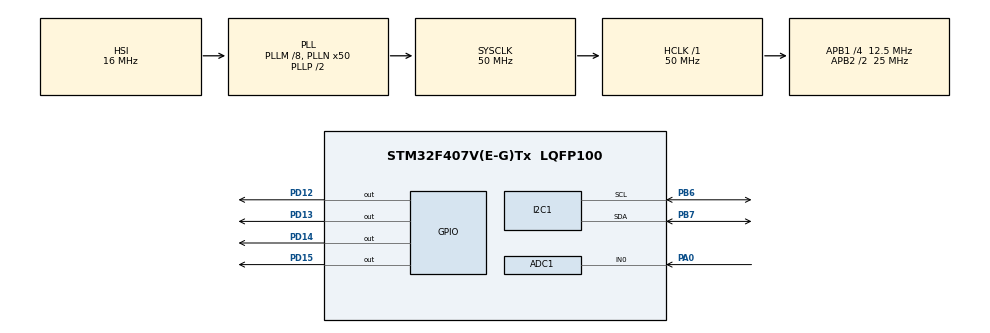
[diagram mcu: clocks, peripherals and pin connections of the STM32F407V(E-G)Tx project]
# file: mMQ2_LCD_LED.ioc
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ADC1.Channel-0\#ChannelRegularConversion=ADC_CHANNEL_0
ADC1.NbrOfConversionFlag=1
ADC1.Rank-0\#ChannelRegularConversion=1
ADC1.SamplingTime-0\#ChannelRegularConversion=ADC_SAMPLETIME_3CYCLES
ADC1.master=1
Mcu.Family=STM32F4
Mcu.Name=STM32F407V(E-G)Tx
Mcu.Package=LQFP100
NVIC.PriorityGroup=NVIC_PRIORITYGROUP_0
PA0-WKUP.Signal=ADCx_IN0
PB6.Mode=I2C
PB6.Signal=I2C1_SCL
PB7.Mode=I2C
PB7.Signal=I2C1_SDA
PD12.Signal=GPIO_Output
PD13.Signal=GPIO_Output
PD14.Signal=GPIO_Output
PD15.Signal=GPIO_Output
ProjectManager.HeapSize=0x200
ProjectManager.StackSize=0x400
ProjectManager.TargetToolchain=STM32CubeIDE
RCC.48MHZClocksFreq_Value=14285714.285714285
RCC.AHBFreq_Value=50000000
RCC.APB1CLKDivider=RCC_HCLK_DIV4
RCC.APB1Freq_Value=12500000
RCC.APB1TimFreq_Value=25000000
RCC.APB2CLKDivider=RCC_HCLK_DIV2
RCC.APB2Freq_Value=25000000
RCC.APB2TimFreq_Value=50000000
RCC.CortexFreq_Value=50000000
RCC.HCLKFreq_Value=50000000
RCC.HSE_VALUE=8000000
RCC.HSI_VALUE=16000000
RCC.PLLM=8
RCC.PLLN=50
RCC.PLLQ=7
RCC.SYSCLKFreq_VALUE=50000000
RCC.SYSCLKSource=RCC_SYSCLKSOURCE_PLLCLK
RCC.VCOOutputFreq_Value=100000000
SH.ADCx_IN0.0=ADC1_IN0,IN0
board=STM32F407G-DISC1

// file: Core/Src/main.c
/* USER CODE BEGIN Header */
/**
  ******************************************************************************
  * @file           : main.c
  * @brief          : Main program body
  ******************************************************************************
  * @attention
  *
  * Copyright (c) 2025 STMicroelectronics.
  * All rights reserved.
  *
  * This software is licensed under terms that can be found in the LICENSE file
  * in the root directory of this software component.
  * If no LICENSE file comes with this software, it is provided AS-IS.
  *
  ******************************************************************************
  */
/* USER CODE END Header */
#include "main.h"

ADC_HandleTypeDef hadc1;

I2C_HandleTypeDef hi2c1;

void SystemClock_Config(void);
static void MX_GPIO_Init(void);
static void MX_I2C1_Init(void);
static void MX_ADC1_Init(void);

int main(void)
{

  /* USER CODE BEGIN 1 */
	uint16_t val = 0;
  /* USER CODE END 1 */

  /* MCU Configuration--------------------------------------------------------*/

  /* Reset of all peripherals, Initializes the Flash interface and the Systick. */
  HAL_Init();

  /* Configure the system clock */
  SystemClock_Config();

  /* Initialize all configured peripherals */
  MX_GPIO_Init();
  MX_I2C1_Init();
  MX_ADC1_Init();
  /* USER CODE BEGIN 2 */
  if (!lcd16x2_i2c_init(&hi2c1))
   {
       // LCD not detected
       while(1);
    }
  char str[32];
  /* USER CODE END 2 */

  /* Infinite loop */
  while (1)
  {

    /* USER CODE BEGIN 3 */

	 val = read_adc();
	 lcd16x2_i2c_clear();
	 lcd16x2_i2c_setCursor(0,0);
	 sprintf(str,"Smoke = %4d",val);
	 lcd16x2_i2c_printf(str);
	 HAL_Delay(1000);
	 HAL_GPIO_WritePin(GPIOD,GPIO_PIN_12|GPIO_PIN_13|GPIO_PIN_14|GPIO_PIN_15,GPIO_PIN_RESET);
	 if(val >= 200 && val <= 600)
	 {
		 HAL_GPIO_WritePin(GPIOD,GPIO_PIN_12,GPIO_PIN_SET);
	 }
	 else if(val > 600 && val <= 1500)
	 {
		 HAL_GPIO_WritePin(GPIOD,GPIO_PIN_13,GPIO_PIN_SET);
	 }
	 else if(val >1500)
	 {
		 HAL_GPIO_WritePin(GPIOD,GPIO_PIN_14,GPIO_PIN_SET);
	 }
	 else
		 HAL_GPIO_WritePin(GPIOD,GPIO_PIN_15,GPIO_PIN_SET);
	 HAL_Delay(1000);
  }
  /* USER CODE END 3 */
}

void SystemClock_Config(void)
{
  RCC_OscInitTypeDef RCC_OscInitStruct = {0};
  RCC_ClkInitTypeDef RCC_ClkInitStruct = {0};

  /** Configure the main internal regulator output voltage
  */
  __HAL_RCC_PWR_CLK_ENABLE();
  __HAL_PWR_VOLTAGESCALING_CONFIG(PWR_REGULATOR_VOLTAGE_SCALE1);

  /** Initializes the RCC Oscillators according to the specified parameters
  * in the RCC_OscInitTypeDef structure.
  */
  RCC_OscInitStruct.OscillatorType = RCC_OSCILLATORTYPE_HSI;
  RCC_OscInitStruct.HSIState = RCC_HSI_ON;
  RCC_OscInitStruct.HSICalibrationValue = RCC_HSICALIBRATION_DEFAULT;
  RCC_OscInitStruct.PLL.PLLState = RCC_PLL_ON;
  RCC_OscInitStruct.PLL.PLLSource = RCC_PLLSOURCE_HSI;
  RCC_OscInitStruct.PLL.PLLM = 8;
  RCC_OscInitStruct.PLL.PLLN = 50;
  RCC_OscInitStruct.PLL.PLLP = RCC_PLLP_DIV2;
  RCC_OscInitStruct.PLL.PLLQ = 7;
  if (HAL_RCC_OscConfig(&RCC_OscInitStruct) != HAL_OK)
  {
    Error_Handler();
  }

  /** Initializes the CPU, AHB and APB buses clocks
  */
  RCC_ClkInitStruct.ClockType = RCC_CLOCKTYPE_HCLK|RCC_CLOCKTYPE_SYSCLK
                              |RCC_CLOCKTYPE_PCLK1|RCC_CLOCKTYPE_PCLK2;
  RCC_ClkInitStruct.SYSCLKSource = RCC_SYSCLKSOURCE_PLLCLK;
  RCC_ClkInitStruct.AHBCLKDivider = RCC_SYSCLK_DIV1;
  RCC_ClkInitStruct.APB1CLKDivider = RCC_HCLK_DIV4;
  RCC_ClkInitStruct.APB2CLKDivider = RCC_HCLK_DIV2;

  if (HAL_RCC_ClockConfig(&RCC_ClkInitStruct, FLASH_LATENCY_1) != HAL_OK)
  {
    Error_Handler();
  }
}

static void MX_ADC1_Init(void)
{

  ADC_ChannelConfTypeDef sConfig = {0};

  /** Configure the global features of the ADC (Clock, Resolution, Data Alignment and number of conversion)
  */
  hadc1.Instance = ADC1;
  hadc1.Init.ClockPrescaler = ADC_CLOCK_SYNC_PCLK_DIV2;
  hadc1.Init.Resolution = ADC_RESOLUTION_12B;
  hadc1.Init.ScanConvMode = DISABLE;
  hadc1.Init.ContinuousConvMode = DISABLE;
  hadc1.Init.DiscontinuousConvMode = DISABLE;
  hadc1.Init.ExternalTrigConvEdge = ADC_EXTERNALTRIGCONVEDGE_NONE;
  hadc1.Init.ExternalTrigConv = ADC_SOFTWARE_START;
  hadc1.Init.DataAlign = ADC_DATAALIGN_RIGHT;
  hadc1.Init.NbrOfConversion = 1;
  hadc1.Init.DMAContinuousRequests = DISABLE;
  hadc1.Init.EOCSelection = ADC_EOC_SINGLE_CONV;
  if (HAL_ADC_Init(&hadc1) != HAL_OK)
  {
    Error_Handler();
  }

  /** Configure for the selected ADC regular channel its corresponding rank in the sequencer and its sample time.
  */
  sConfig.Channel = ADC_CHANNEL_0;
  sConfig.Rank = 1;
  sConfig.SamplingTime = ADC_SAMPLETIME_3CYCLES;
  if (HAL_ADC_ConfigChannel(&hadc1, &sConfig) != HAL_OK)
  {
    Error_Handler();
  }

}

static void MX_I2C1_Init(void)
{

  hi2c1.Instance = I2C1;
  hi2c1.Init.ClockSpeed = 100000;
  hi2c1.Init.DutyCycle = I2C_DUTYCYCLE_2;
  hi2c1.Init.OwnAddress1 = 0;
  hi2c1.Init.AddressingMode = I2C_ADDRESSINGMODE_7BIT;
  hi2c1.Init.DualAddressMode = I2C_DUALADDRESS_DISABLE;
  hi2c1.Init.OwnAddress2 = 0;
  hi2c1.Init.GeneralCallMode = I2C_GENERALCALL_DISABLE;
  hi2c1.Init.NoStretchMode = I2C_NOSTRETCH_DISABLE;
  if (HAL_I2C_Init(&hi2c1) != HAL_OK)
  {
    Error_Handler();
  }

}

static void MX_GPIO_Init(void)
{
  GPIO_InitTypeDef GPIO_InitStruct = {0};

  /* GPIO Ports Clock Enable */
  __HAL_RCC_GPIOA_CLK_ENABLE();
  __HAL_RCC_GPIOD_CLK_ENABLE();
  __HAL_RCC_GPIOB_CLK_ENABLE();

  /*Configure GPIO pin Output Level */
  HAL_GPIO_WritePin(GPIOD, GPIO_PIN_12|GPIO_PIN_13|GPIO_PIN_14|GPIO_PIN_15, GPIO_PIN_RESET);

  /*Configure GPIO pins : PD12 PD13 PD14 PD15 */
  GPIO_InitStruct.Pin = GPIO_PIN_12|GPIO_PIN_13|GPIO_PIN_14|GPIO_PIN_15;
  GPIO_InitStruct.Mode = GPIO_MODE_OUTPUT_PP;
  GPIO_InitStruct.Pull = GPIO_NOPULL;
  GPIO_InitStruct.Speed = GPIO_SPEED_FREQ_LOW;
  HAL_GPIO_Init(GPIOD, &GPIO_InitStruct);

}

void Error_Handler(void)
{
  __disable_irq();
  while (1)
  {
  }
}
